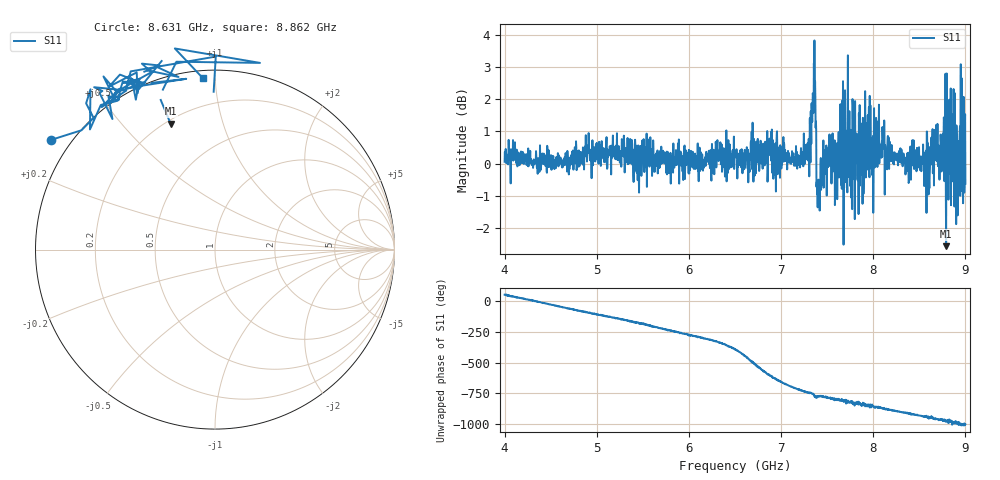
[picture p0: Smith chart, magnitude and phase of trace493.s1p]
! Created with skrf 1.8.0 (http://scikit-rf.org).
# Hz S RI R 50.0
!freq ReS11 ImS11
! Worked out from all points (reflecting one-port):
!   1601 points, 4 GHz to 9 GHz, reference 50 ohm
!   lowest |S11| = -2.6 dB at 8.791 GHz (marker M1), VSWR 6.84, Z = 10.9 + j34.3 ohm
!   phase of S11 starts at 50 deg and turns -1051 deg over the sweep
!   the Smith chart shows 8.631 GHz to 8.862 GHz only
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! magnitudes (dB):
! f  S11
! 4 GHz  0.1
! 4.625 GHz  -0.1
! 4.897 GHz  0.2
! 5.25 GHz  0.0
! 5.875 GHz  0.2
! 6.5 GHz  0.2
! 7.125 GHz  0.2
! 7.294 GHz  0.1
! 7.356 GHz  3.1
! 7.409 GHz  -0.7
! 7.453 GHz  0.1
! 7.538 GHz  0.7
! 7.609 GHz  -1.1
! 7.65 GHz  0.9
! 7.75 GHz  -0.7
! 7.775 GHz  2.0
! 7.8 GHz  -1.7
! 7.881 GHz  1.0
! 7.95 GHz  0.9
! 7.997 GHz  0.9
! 8.05 GHz  1.3
! 8.375 GHz  0.0
! 8.441 GHz  0.0
! 8.594 GHz  -0.4
! 8.791 GHz  -2.6
! 8.919 GHz  -0.7
! 8.972 GHz  0.6
! 9 GHz  -0.6
